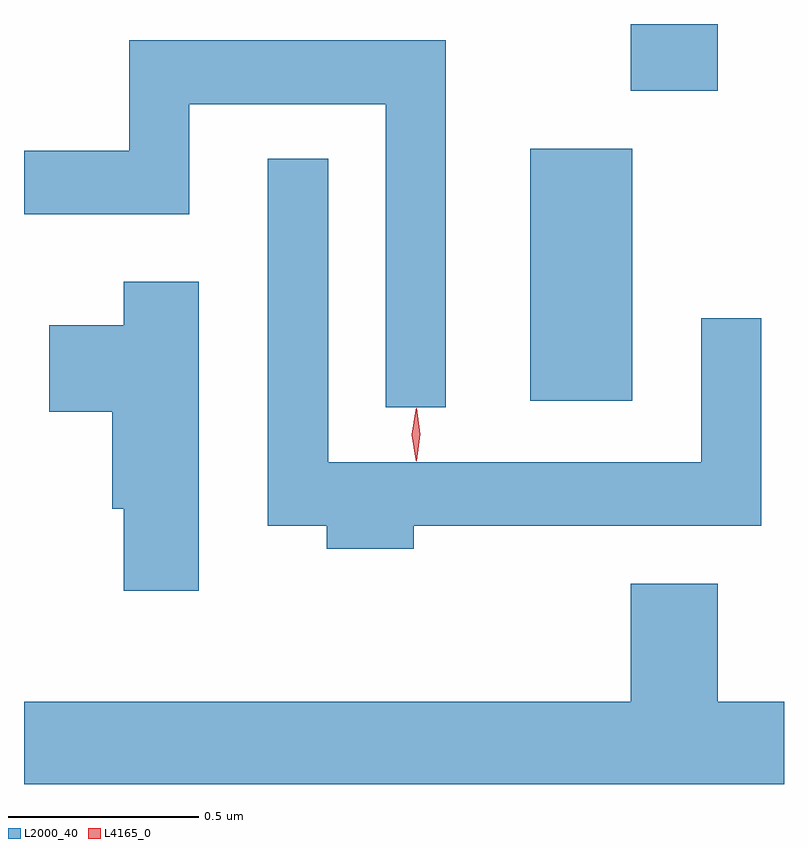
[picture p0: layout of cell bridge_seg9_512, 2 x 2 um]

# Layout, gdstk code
import gdstk
lib = gdstk.Library(unit=1e-6, precision=1e-09)
def R(c, l, rs):  # rectangles x0, y0, x1, y1
    for r in rs: c.add(gdstk.rectangle(r[:2], r[2:], *l))
def P(c, l, *ps):  # polygons
    for p in ps: c.add(gdstk.Polygon(p, *l))
L2000_40 = (2000, 40)
L4165_0 = (4165, 0)

bridge_seg9_512 = lib.new_cell('bridge_seg9_512')
R(bridge_seg9_512, L2000_40, [(553.436,1970.676,553.704,1971.339), (553.701,1971.491,553.929,1971.667)])
P(bridge_seg9_512, L2000_40, [(553.214,1971.624),(552.381,1971.624),(552.381,1971.334),(552.104,1971.334),(552.104,1971.166),(552.539,1971.166),(552.539,1971.456),(553.056,1971.456),(553.056,1970.658),(553.214,1970.658)],
  [(553.129,1970.346),(554.044,1970.346),(554.044,1970.893),(553.886,1970.893),(553.886,1970.514),(552.904,1970.514),(552.904,1971.313),(552.746,1971.313),(552.746,1970.346),(552.901,1970.346),(552.901,1970.286),(553.129,1970.286)],
  [(552.564,1970.989),(552.366,1970.989),(552.366,1970.874),(552.171,1970.874),(552.171,1970.646),(552.336,1970.646),(552.336,1970.391),(552.366,1970.391),(552.366,1970.176),(552.564,1970.176)],
  [(554.104,1969.884),(553.929,1969.884),(553.929,1970.194),(553.701,1970.194),(553.701,1969.884),(552.104,1969.884),(552.104,1969.667),(554.104,1969.667)])
P(bridge_seg9_512, L4165_0, [(553.137,1970.517),(553.136,1970.518),(553.127,1970.587),(553.136,1970.656),(553.137,1970.656),(553.137,1970.656),(553.147,1970.587),(553.137,1970.518)],
  [(553.135,1970.519),(553.135,1970.52),(553.125,1970.586),(553.135,1970.652),(553.135,1970.653),(553.136,1970.652),(553.145,1970.586),(553.136,1970.52)])

lib.write_gds('bridge_seg9_512.gds')
